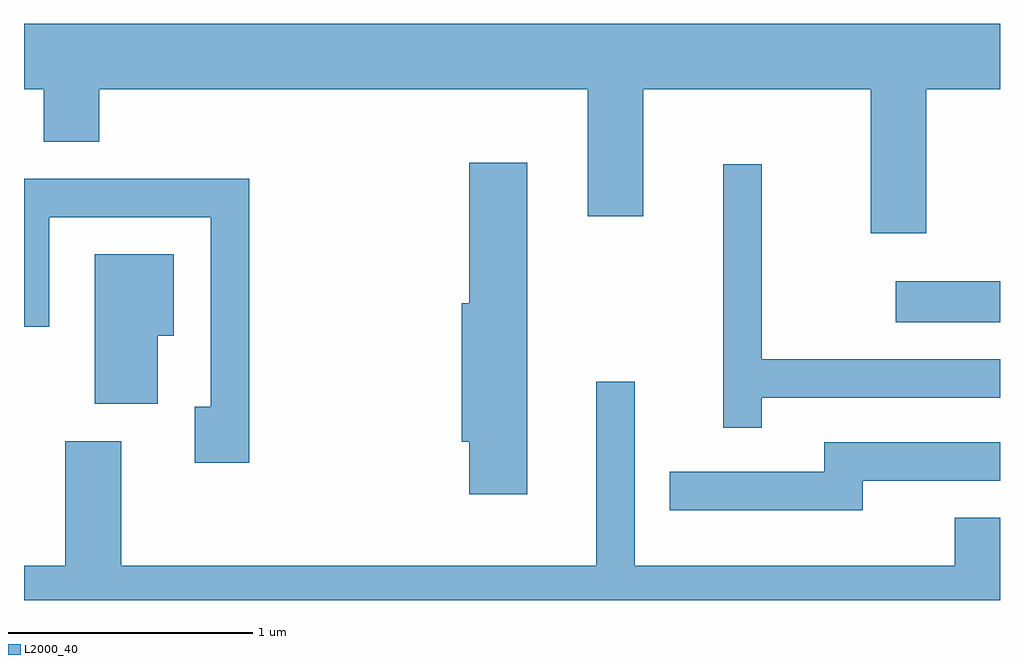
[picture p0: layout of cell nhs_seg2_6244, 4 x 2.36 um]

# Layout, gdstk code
import gdstk
lib = gdstk.Library(unit=1e-6, precision=1e-09)
def R(c, l, rs):  # rectangles x0, y0, x1, y1
    for r in rs: c.add(gdstk.rectangle(r[:2], r[2:], *l))
def P(c, l, *ps):  # polygons
    for p in ps: c.add(gdstk.Polygon(p, *l))
L2000_40 = (2000, 40)

nhs_seg2_6244 = lib.new_cell('nhs_seg2_6244')
R(nhs_seg2_6244, L2000_40, [(373.183,1022.941,373.611,1023.109)])
P(nhs_seg2_6244, L2000_40, [(373.309,1023.896),(373.611,1023.896),(373.611,1024.164),(369.611,1024.164),(369.611,1023.896),(369.691,1023.896),(369.691,1023.681),(369.919,1023.681),(369.919,1023.896),(371.921,1023.896),(371.921,1023.376),(372.149,1023.376),(372.149,1023.896),(373.081,1023.896),(373.081,1023.306),(373.309,1023.306)],
  [(371.674,1023.594),(371.436,1023.594),(371.436,1023.019),(371.406,1023.019),(371.406,1022.451),(371.436,1022.451),(371.436,1022.236),(371.674,1022.236)],
  [(372.634,1022.631),(373.611,1022.631),(373.611,1022.789),(372.634,1022.789),(372.634,1023.588),(372.476,1023.588),(372.476,1022.508),(372.634,1022.508)],
  [(370.534,1023.529),(369.611,1023.529),(369.611,1022.923),(369.714,1022.923),(369.714,1023.371),(370.376,1023.371),(370.376,1022.594),(370.311,1022.594),(370.311,1022.366),(370.534,1022.366)],
  [(370.159,1022.886),(370.224,1022.886),(370.224,1023.219),(369.901,1023.219),(369.901,1022.606),(370.159,1022.606)],
  [(373.611,1022.139),(373.426,1022.139),(373.426,1021.944),(372.114,1021.944),(372.114,1022.698),(371.956,1022.698),(371.956,1021.944),(370.009,1021.944),(370.009,1022.454),(369.781,1022.454),(369.781,1021.944),(369.611,1021.944),(369.611,1021.802),(373.611,1021.802)],
  [(373.049,1022.291),(373.611,1022.291),(373.611,1022.449),(372.891,1022.449),(372.891,1022.329),(372.258,1022.329),(372.258,1022.171),(373.049,1022.171)])

lib.write_gds('nhs_seg2_6244.gds')
